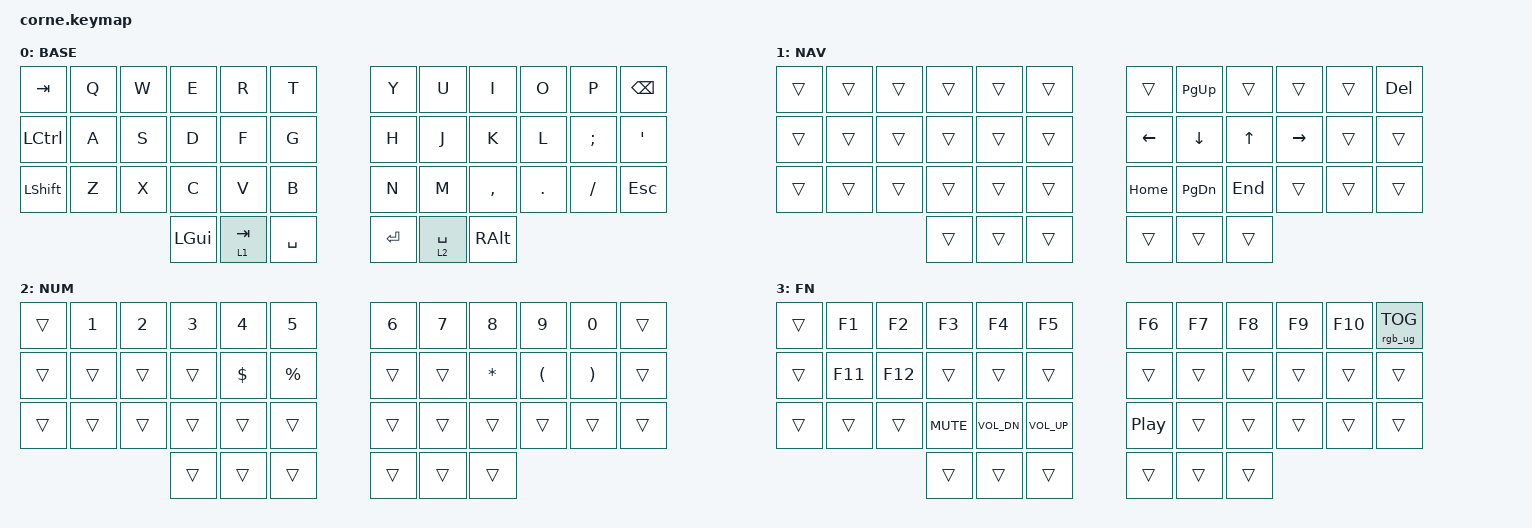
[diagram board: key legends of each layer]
#include <behaviors.dtsi>
#include <dt-bindings/zmk/keys.h>
#include <dt-bindings/zmk/bt.h>
#include <dt-bindings/zmk/outputs.h>
#include <dt-bindings/zmk/rgb.h>
#include <dt-bindings/zmk/reset.h>

&led_strip {
    chain-length = <27>;
};

/ {
    keymap {
        compatible = "zmk,keymap";

        base_layer {
            display-name = "BASE";
            bindings = <
                &kp TAB    &kp Q &kp W &kp E &kp R &kp T    &kp Y &kp U &kp I     &kp O   &kp P    &kp BSPC
                &kp LCTRL  &kp A &kp S &kp D &kp F &kp G    &kp H &kp J &kp K     &kp L   &kp SEMI &kp SQT
                &kp LSHFT  &kp Z &kp X &kp C &kp V &kp B    &kp N &kp M &kp COMMA &kp DOT &kp FSLH &kp ESC
                           &kp LGUI &lt 1 TAB &kp SPACE    &kp RET &lt 2 SPACE &kp RALT
            >;
        };

        nav_layer {
            display-name = "NAV";
            bindings = <
                &trans &trans &trans &trans    &trans    &trans    &trans    &kp PG_UP &trans  &trans    &trans &kp DEL
                &trans &trans &trans &trans    &trans    &trans    &kp LEFT  &kp DOWN  &kp UP  &kp RIGHT &trans &trans
                &trans &trans &trans &trans    &trans    &trans    &kp HOME  &kp PG_DN &kp END &trans    &trans &trans
                              &trans &trans    &trans    &trans    &trans    &trans
            >;
        };

        num_layer {
            display-name = "NUM";
            bindings = <
                &trans &kp N1 &kp N2 &kp N3   &kp N4   &kp N5    &kp N6   &kp N7   &kp N8   &kp N9   &kp N0   &trans
                &trans &trans &trans &trans    &kp DLLR &kp PRCNT &trans   &trans   &kp STAR &kp LPAR &kp RPAR &trans
                &trans &trans &trans &trans    &trans   &trans    &trans   &trans   &trans   &trans   &trans   &trans
                              &trans &trans    &trans    &trans    &trans   &trans
            >;
        };

        fn_layer {
            display-name = "FN";
            bindings = <
                &trans &kp F1  &kp F2  &kp F3  &kp F4  &kp F5    &kp F6  &kp F7  &kp F8      &kp F9  &kp F10 &rgb_ug RGB_TOG
                &trans &kp F11 &kp F12 &trans  &trans  &trans    &trans  &trans  &trans      &trans  &trans  &trans
                &trans &trans  &trans  &kp C_MUTE &kp C_VOL_DN &kp C_VOL_UP &kp C_PP &trans &trans &trans &trans &trans
                               &trans  &trans  &trans    &trans  &trans  &trans
            >;
        };

        extra_1 {
            status = "reserved";
        };

        extra_2 {
            status = "reserved";
        };

        extra_3 {
            status = "reserved";
        };
    };
};
